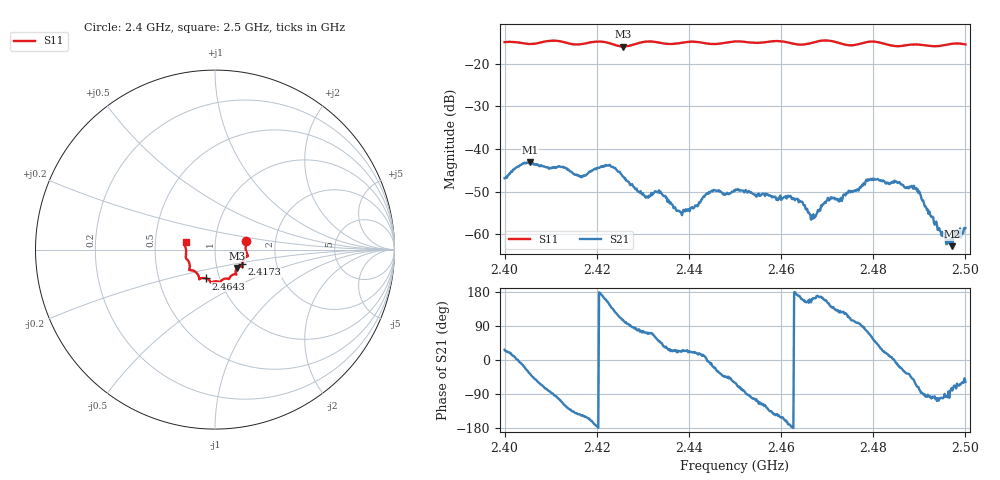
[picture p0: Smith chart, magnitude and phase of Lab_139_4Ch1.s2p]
# Hz S RI R 50
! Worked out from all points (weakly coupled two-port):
!   601 points, 2.4 GHz to 2.5 GHz, reference 50 ohm
!   highest |S21| = -43.08 dB at 2.4055 GHz (marker M1); lowest = -62.8 dB at 2.4972 GHz (marker M2)
!   lowest |S11| = -15.9 dB at 2.4257 GHz (marker M3), VSWR 1.38, Z = 62.5 - j13.1 ohm
!   |S11| at or under -10 dB: start of sweep to end of sweep
!   S12 and S22 are empty: the file has one direction only
!   S11 on the Smith chart (normalised r, x): 2.4 GHz: 1.41, +0.14; 2.4173 GHz: 1.34, -0.23; 2.4643 GHz: 0.86, -0.28; 2.5 GHz: 0.72, +0.06
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2.4e9  0.1732 0.0487  0.00405 0.00207  0 0  0 0
2.4055e9  0.1706 0.00804  0.00569 -0.00411  0 0  0 0
2.416667e9  0.153 -0.0747  -0.00391 -0.00254  0 0  0 0
2.417333e9  0.152 -0.0822  -0.00414 -0.00258  0 0  0 0
2.422333e9  0.1499 -0.095  -0.00571 0.00286  0 0  0 0
2.425667e9  0.1227 -0.1022  -0.00132 0.0046  0 0  0 0
2.430667e9  0.1188 -0.1384  0.000814 0.00256  0 0  0 0
2.433333e9  0.113 -0.1375  0.00194 0.00245  0 0  0 0
2.438167e9  0.0816 -0.1556  0.00169 0.000736  0 0  0 0
2.445167e9  0.0542 -0.1621  0.00305 -0.00094  0 0  0 0
2.45e9  0.0287 -0.1809  0.00161 -0.00281  0 0  0 0
2.464333e9  -0.05 -0.1606  -0.00231 0.000765  0 0  0 0
2.466667e9  -0.0761 -0.1593  -0.00157 0.000543  0 0  0 0
2.470333e9  -0.0881 -0.1652  -0.00216 0.00126  0 0  0 0
2.472833e9  -0.0906 -0.1486  -0.00165 0.002  0 0  0 0
2.479e9  -0.1409 -0.1148  0.00146 0.00403  0 0  0 0
2.483333e9  -0.1407 -0.0899  0.00384 0.000782  0 0  0 0
2.489333e9  -0.1631 -0.0438  0.00138 -0.00321  0 0  0 0
2.494333e9  -0.162 0.00194  -0.00027 -0.00115  0 0  0 0
2.496167e9  -0.1673 0.0209  -0.000117 -0.000823  0 0  0 0
2.497167e9  -0.1698 0.028  0.000118 -0.000716  0 0  0 0
2.5e9  -0.1637 0.0427  0.000626 -0.001  0 0  0 0
